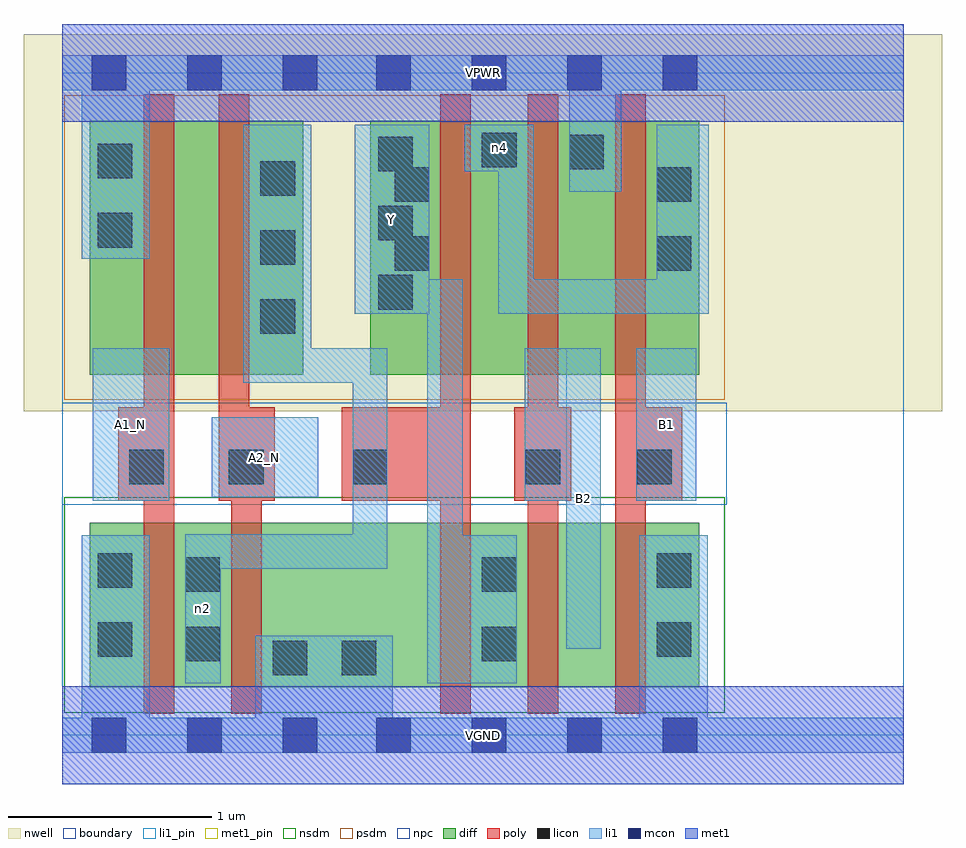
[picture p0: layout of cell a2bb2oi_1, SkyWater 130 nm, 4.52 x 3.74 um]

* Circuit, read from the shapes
.subckt a2bb2oi_1 A1_N A2_N B1 B2 VGND VPWR Y n2 n4
XM1 n2 A1_N VGND VSUBS sky130_fd_pr__nfet_01v8 w=0.81 l=0.15
XM2 VGND A2_N n2 VSUBS sky130_fd_pr__nfet_01v8 w=0.81 l=0.15
XM3 Y n2 VGND VSUBS sky130_fd_pr__nfet_01v8 w=0.81 l=0.15
XM4 n1 B2 Y VSUBS sky130_fd_pr__nfet_01v8 w=0.81 l=0.15
XM5 VGND B1 n1 VSUBS sky130_fd_pr__nfet_01v8 w=0.81 l=0.15
XM6 n3 A1_N VPWR n5 sky130_fd_pr__pfet_01v8 w=1.25 l=0.15
XM7 n2 A2_N n3 n5 sky130_fd_pr__pfet_01v8 w=1.25 l=0.15
XM8 n4 n2 Y n5 sky130_fd_pr__pfet_01v8 w=1.25 l=0.15
XM9 VPWR B2 n4 n5 sky130_fd_pr__pfet_01v8 w=1.25 l=0.15
XM10 n4 B1 VPWR n5 sky130_fd_pr__pfet_01v8 w=1.25 l=0.15
.ends

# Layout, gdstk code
import gdstk
lib = gdstk.Library(unit=1e-6, precision=1e-09)
def R(c, l, rs):  # rectangles x0, y0, x1, y1
    for r in rs: c.add(gdstk.rectangle(r[:2], r[2:], *l))
def A(c, l, x, y, w, h, nx, ny, dx, dy):  # array of equal rectangles
    R(c, l, [(x+i*dx, y+j*dy, x+i*dx+w, y+j*dy+h) for i in range(nx) for j in range(ny)])
nwell = (64, 20)
diff = (65, 20)
poly = (66, 20)
licon = (66, 44)
li1_pin = (67, 16)
li1 = (67, 20)
mcon = (67, 44)
met1_pin = (68, 16)
met1 = (68, 20)
nsdm = (93, 44)
psdm = (94, 20)
npc = (95, 20)
boundary = (235, 4)

a2bb2oi_1 = lib.new_cell('a2bb2oi_1')
R(a2bb2oi_1, nwell, [(-0.19,1.595,4.33,3.45), (0,1.595,4.14,3.45)])
R(a2bb2oi_1, diff, [(0.135,0.235,3.135,1.045), (0.135,1.775,1.185,3.025), (1.515,1.775,3.135,3.025)])
A(a2bb2oi_1, poly, 1.86, 0.105, 0.15, 3.05, 3, 1, 0.43, 0)
R(a2bb2oi_1, poly, [(0.4,0.105,0.55,3.155), (0.83,0.105,0.98,1.615), (0.275,1.155,0.55,1.615), (0.77,1.155,1.045,1.615), (0.77,1.155,0.92,3.155), (1.375,1.155,2.01,1.615), (2.225,1.155,2.505,1.615), (2.72,1.155,3.05,1.615)])
A(a2bb2oi_1, licon, 0.975, 1.975, 0.17, 0.17, 1, 3, 0, 0.34)
A(a2bb2oi_1, licon, 1.555, 2.095, 0.17, 0.17, 1, 3, 0, 0.34)
R(a2bb2oi_1, licon, [(1.035,0.295,1.205,0.465), (1.375,0.295,1.545,0.465), (0.605,0.365,0.775,0.535), (2.065,0.365,2.235,0.535), (0.175,0.385,0.345,0.555), (2.925,0.385,3.095,0.555), (0.605,0.705,0.775,0.875), (2.065,0.705,2.235,0.875), (0.175,0.725,0.345,0.895), (2.925,0.725,3.095,0.895), (0.33,1.235,0.5,1.405), (0.82,1.235,0.99,1.405), (1.43,1.235,1.6,1.405), (2.28,1.235,2.45,1.405), (2.83,1.235,3,1.405), (1.635,2.285,1.805,2.455), (2.925,2.285,3.095,2.455), (0.175,2.4,0.345,2.57), (1.635,2.625,1.805,2.795), (2.925,2.625,3.095,2.795), (0.175,2.74,0.345,2.91), (2.495,2.785,2.665,2.955), (2.065,2.795,2.235,2.965)])
R(a2bb2oi_1, li1_pin, [(2.48,0.425,2.65,1.905), (0.15,1.155,0.525,1.905), (2.825,1.155,3.12,1.905), (0.735,1.17,1.26,1.565), (1.44,2.075,1.805,3.005)])
R(a2bb2oi_1, li1, [(0,-0.085,4.14,0.085), (0.095,-0.085,0.43,0.985), (0.95,-0.085,1.625,0.49), (2.84,-0.085,3.175,0.985), (0.605,0.255,0.78,0.99), (1.795,0.255,1.97,2.245), (1.795,0.255,2.235,0.985), (2.48,0.425,2.65,1.905), (0.605,0.82,1.6,0.99), (1.43,0.82,1.6,1.905), (0.15,1.155,0.525,1.905), (2.275,1.155,2.65,1.905), (2.825,1.155,3.12,1.905), (0.735,1.17,1.26,1.565), (0.89,1.735,1.225,3.005), (0.89,1.735,1.6,1.905), (1.44,2.075,1.805,3.005), (2.145,2.075,3.18,2.245), (2.145,2.075,2.32,3.005), (2.925,2.075,3.18,3.005), (0.095,2.345,0.43,3.345), (2.495,2.675,2.75,3.345), (1.98,2.775,2.32,3.005), (0,3.175,4.14,3.345)])
A(a2bb2oi_1, mcon, 0.145, -0.085, 0.17, 0.17, 3, 2, 0.47, 3.26)
A(a2bb2oi_1, mcon, 1.545, -0.085, 0.17, 0.17, 4, 2, 0.47, 3.26)
R(a2bb2oi_1, met1_pin, [(0,-0.24,4.14,0.24), (0,3.02,4.14,3.5)])
R(a2bb2oi_1, met1, [(0,-0.24,4.14,0.24), (0,3.02,4.14,3.5)])
R(a2bb2oi_1, nsdm, [(0.01,0.11,3.26,1.17)])
R(a2bb2oi_1, psdm, [(0.01,1.65,3.26,3.15)])
R(a2bb2oi_1, npc, [(0,1.135,3.27,1.635)])
R(a2bb2oi_1, boundary, [(0,0,4.14,3.26)])
a2bb2oi_1.add(gdstk.Label('A1_N', (0.337,1.53), layer=67, texttype=5))
a2bb2oi_1.add(gdstk.Label('A2_N', (0.997,1.367), layer=67, texttype=5))
a2bb2oi_1.add(gdstk.Label('B1', (2.972,1.53), layer=67, texttype=5))
a2bb2oi_1.add(gdstk.Label('B2', (2.565,1.165), layer=67, texttype=5))
a2bb2oi_1.add(gdstk.Label('Y', (1.622,2.54), layer=67, texttype=5))
a2bb2oi_1.add(gdstk.Label('n2', (0.692,0.622), layer=67, texttype=5))
a2bb2oi_1.add(gdstk.Label('n4', (2.15,2.89), layer=67, texttype=5))
a2bb2oi_1.add(gdstk.Label('VPWR', (2.07,3.26), layer=68, texttype=5))
a2bb2oi_1.add(gdstk.Label('VGND', (2.07,0), layer=68, texttype=5))
a2bb2oi_1.add(gdstk.Label('A1_N', (0.337,1.53), layer=67, texttype=16))
a2bb2oi_1.add(gdstk.Label('A2_N', (0.997,1.367), layer=67, texttype=16))
a2bb2oi_1.add(gdstk.Label('B1', (2.972,1.53), layer=67, texttype=16))
a2bb2oi_1.add(gdstk.Label('B2', (2.565,1.165), layer=67, texttype=16))
a2bb2oi_1.add(gdstk.Label('Y', (1.622,2.54), layer=67, texttype=16))
a2bb2oi_1.add(gdstk.Label('VPWR', (2.07,3.26), layer=68, texttype=16))
a2bb2oi_1.add(gdstk.Label('VGND', (2.07,0), layer=68, texttype=16))

lib.write_gds('a2bb2oi_1.gds')
